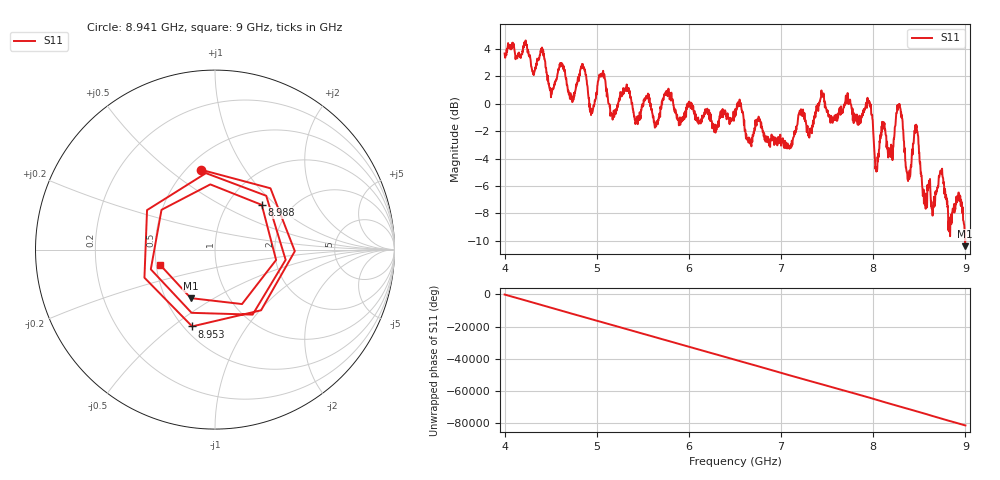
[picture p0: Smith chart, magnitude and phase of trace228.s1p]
! Created with skrf 1.8.0 (http://scikit-rf.org).
# Hz S RI R 50.0
!freq ReS11 ImS11
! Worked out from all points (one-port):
!   1601 points, 4 GHz to 9 GHz, reference 50 ohm
!   lowest |S11| = -10.4 dB at 8.997 GHz (marker M1), VSWR 1.87, Z = 33.4 - j19.9 ohm
!   |S11| at or under -10 dB: 8.995799 GHz to 8.999597 GHz (3.798 MHz wide, 0.0422 % of centre)
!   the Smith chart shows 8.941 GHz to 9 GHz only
!   S11 on the Smith chart (normalised r, x): 8.941 GHz: 0.58, +0.65; 8.953 GHz: 0.55, -0.59; 8.988 GHz: 1.43, +0.82; 9 GHz: 0.52, -0.10
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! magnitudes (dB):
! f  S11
! 4 GHz  3.7
! 4.406 GHz  4.1
! 4.509 GHz  0.7
! 4.625 GHz  2.9
! 4.731 GHz  0.5
! 4.853 GHz  2.6
! 4.944 GHz  -0.7
! 5.047 GHz  2.2
! 5.166 GHz  -0.8
! 5.25 GHz  0.5
! 5.875 GHz  -1.1
! 6.5 GHz  -0.9
! 7.125 GHz  -2.7
! 7.441 GHz  0.6
! 7.75 GHz  0.3
! 7.959 GHz  0.2
! 8.038 GHz  -4.8
! 8.288 GHz  -0.1
! 8.375 GHz  -5.6
! 8.466 GHz  -1.5
! 8.559 GHz  -7.3
! 8.734 GHz  -5.1
! 8.831 GHz  -9.1
! 8.941 GHz  -6.9
! 8.953 GHz  -7.0
! 8.988 GHz  -8.9
! 8.997 GHz  -10.4
! 9 GHz  -9.9
